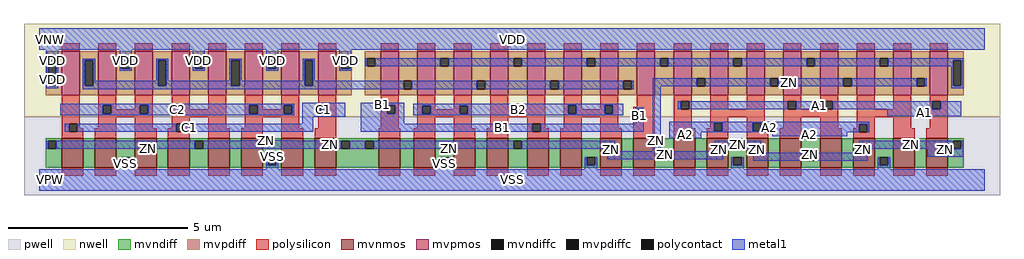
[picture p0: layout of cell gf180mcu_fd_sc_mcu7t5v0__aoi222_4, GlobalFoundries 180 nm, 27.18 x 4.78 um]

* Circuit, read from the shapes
.subckt gf180mcu_fd_sc_mcu7t5v0__aoi222_4 A1 A2 B1 B2 C1 C2 ZN VDD VNW VPW VSS
XM1 n1 C1 ZN VPW nfet_06v0 w=0.82u l=0.6u
XM2 VSS C2 n1 VPW nfet_06v0 w=0.82u l=0.6u
XM3 n2 C2 VSS VPW nfet_06v0 w=0.82u l=0.6u
XM4 ZN C1 n2 VPW nfet_06v0 w=0.82u l=0.6u
XM5 n3 C1 ZN VPW nfet_06v0 w=0.82u l=0.6u
XM6 VSS C2 n3 VPW nfet_06v0 w=0.82u l=0.6u
XM7 n4 C2 VSS VPW nfet_06v0 w=0.82u l=0.6u
XM8 ZN C1 n4 VPW nfet_06v0 w=0.82u l=0.6u
XM9 n5 B1 ZN VPW nfet_06v0 w=0.82u l=0.6u
XM10 VSS B2 n5 VPW nfet_06v0 w=0.82u l=0.6u
XM11 n6 B2 VSS VPW nfet_06v0 w=0.82u l=0.6u
XM12 ZN B1 n6 VPW nfet_06v0 w=0.82u l=0.6u
XM13 n7 B1 ZN VPW nfet_06v0 w=0.82u l=0.6u
XM14 VSS B2 n7 VPW nfet_06v0 w=0.82u l=0.6u
XM15 n8 B2 VSS VPW nfet_06v0 w=0.82u l=0.6u
XM16 ZN B1 n8 VPW nfet_06v0 w=0.82u l=0.6u
XM17 n9 A1 ZN VPW nfet_06v0 w=0.82u l=0.6u
XM18 VSS A2 n9 VPW nfet_06v0 w=0.82u l=0.6u
XM19 n10 A2 VSS VPW nfet_06v0 w=0.82u l=0.6u
XM20 ZN A1 n10 VPW nfet_06v0 w=0.82u l=0.6u
XM21 n11 A1 ZN VPW nfet_06v0 w=0.82u l=0.6u
XM22 VSS A2 n11 VPW nfet_06v0 w=0.82u l=0.6u
XM23 n12 A2 VSS VPW nfet_06v0 w=0.82u l=0.6u
XM24 ZN A1 n12 VPW nfet_06v0 w=0.82u l=0.6u
XM25 n13 C1 VDD VNW pfet_06v0 w=1.22u l=0.5u m=4
XM26 VDD C2 n13 VNW pfet_06v0 w=1.22u l=0.5u m=4
XM27 n13 B1 n14 VNW pfet_06v0 w=1.22u l=0.5u m=4
XM28 n14 B2 n13 VNW pfet_06v0 w=1.22u l=0.5u m=4
XM29 ZN A1 n14 VNW pfet_06v0 w=1.22u l=0.5u m=4
XM30 n14 A2 ZN VNW pfet_06v0 w=1.22u l=0.5u m=4
.ends

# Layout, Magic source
magic
tech gf180mcuD
magscale 1 10
<< nwell >>
rect -86 352 5350 870
<< pwell >>
rect -86 -86 5350 352
<< mvnmos >>
rect 124 68 244 232
rect 308 68 428 232
rect 532 68 652 232
rect 716 68 836 232
rect 940 68 1060 232
rect 1124 68 1244 232
rect 1348 68 1468 232
rect 1532 68 1652 232
rect 1890 68 2010 232
rect 2084 68 2204 232
rect 2308 68 2428 232
rect 2492 68 2612 232
rect 2716 68 2836 232
rect 2900 68 3020 232
rect 3124 68 3244 232
rect 3308 68 3428 232
rect 3532 68 3652 232
rect 3716 68 3836 232
rect 3940 68 4060 232
rect 4124 68 4244 232
rect 4348 68 4468 232
rect 4532 68 4652 232
rect 4756 68 4876 232
rect 4940 68 5060 232
<< mvpmos >>
rect 124 472 224 716
rect 328 472 428 716
rect 532 472 632 716
rect 736 472 836 716
rect 940 472 1040 716
rect 1144 472 1244 716
rect 1348 472 1448 716
rect 1552 472 1652 716
rect 1900 472 2000 716
rect 2104 472 2204 716
rect 2308 472 2408 716
rect 2512 472 2612 716
rect 2716 472 2816 716
rect 2920 472 3020 716
rect 3124 472 3224 716
rect 3328 472 3428 716
rect 3532 472 3632 716
rect 3736 472 3836 716
rect 3940 472 4040 716
rect 4144 472 4244 716
rect 4348 472 4448 716
rect 4552 472 4652 716
rect 4756 472 4856 716
rect 4960 472 5060 716
<< mvndiff >>
rect 36 219 124 232
rect 36 173 49 219
rect 95 173 124 219
rect 36 68 124 173
rect 244 68 308 232
rect 428 127 532 232
rect 428 81 457 127
rect 503 81 532 127
rect 428 68 532 81
rect 652 68 716 232
rect 836 219 940 232
rect 836 173 865 219
rect 911 173 940 219
rect 836 68 940 173
rect 1060 68 1124 232
rect 1244 127 1348 232
rect 1244 81 1273 127
rect 1319 81 1348 127
rect 1244 68 1348 81
rect 1468 68 1532 232
rect 1652 219 1890 232
rect 1652 173 1681 219
rect 1727 173 1815 219
rect 1861 173 1890 219
rect 1652 68 1890 173
rect 2010 68 2084 232
rect 2204 127 2308 232
rect 2204 81 2233 127
rect 2279 81 2308 127
rect 2204 68 2308 81
rect 2428 68 2492 232
rect 2612 219 2716 232
rect 2612 173 2641 219
rect 2687 173 2716 219
rect 2612 68 2716 173
rect 2836 68 2900 232
rect 3020 127 3124 232
rect 3020 81 3049 127
rect 3095 81 3124 127
rect 3020 68 3124 81
rect 3244 68 3308 232
rect 3428 160 3532 232
rect 3428 114 3457 160
rect 3503 114 3532 160
rect 3428 68 3532 114
rect 3652 68 3716 232
rect 3836 127 3940 232
rect 3836 81 3865 127
rect 3911 81 3940 127
rect 3836 68 3940 81
rect 4060 68 4124 232
rect 4244 152 4348 232
rect 4244 106 4273 152
rect 4319 106 4348 152
rect 4244 68 4348 106
rect 4468 68 4532 232
rect 4652 127 4756 232
rect 4652 81 4681 127
rect 4727 81 4756 127
rect 4652 68 4756 81
rect 4876 68 4940 232
rect 5060 219 5148 232
rect 5060 173 5089 219
rect 5135 173 5148 219
rect 5060 68 5148 173
<< mvpdiff >>
rect 36 665 124 716
rect 36 525 49 665
rect 95 525 124 665
rect 36 472 124 525
rect 224 665 328 716
rect 224 525 253 665
rect 299 525 328 665
rect 224 472 328 525
rect 428 665 532 716
rect 428 619 457 665
rect 503 619 532 665
rect 428 472 532 619
rect 632 665 736 716
rect 632 525 661 665
rect 707 525 736 665
rect 632 472 736 525
rect 836 665 940 716
rect 836 619 865 665
rect 911 619 940 665
rect 836 472 940 619
rect 1040 665 1144 716
rect 1040 525 1069 665
rect 1115 525 1144 665
rect 1040 472 1144 525
rect 1244 665 1348 716
rect 1244 619 1273 665
rect 1319 619 1348 665
rect 1244 472 1348 619
rect 1448 665 1552 716
rect 1448 525 1477 665
rect 1523 525 1552 665
rect 1448 472 1552 525
rect 1652 665 1740 716
rect 1652 619 1681 665
rect 1727 619 1740 665
rect 1652 472 1740 619
rect 1812 678 1900 716
rect 1812 632 1825 678
rect 1871 632 1900 678
rect 1812 472 1900 632
rect 2000 552 2104 716
rect 2000 506 2029 552
rect 2075 506 2104 552
rect 2000 472 2104 506
rect 2204 678 2308 716
rect 2204 632 2233 678
rect 2279 632 2308 678
rect 2204 472 2308 632
rect 2408 552 2512 716
rect 2408 506 2437 552
rect 2483 506 2512 552
rect 2408 472 2512 506
rect 2612 678 2716 716
rect 2612 632 2641 678
rect 2687 632 2716 678
rect 2612 472 2716 632
rect 2816 552 2920 716
rect 2816 506 2845 552
rect 2891 506 2920 552
rect 2816 472 2920 506
rect 3020 678 3124 716
rect 3020 632 3049 678
rect 3095 632 3124 678
rect 3020 472 3124 632
rect 3224 552 3328 716
rect 3224 506 3253 552
rect 3299 506 3328 552
rect 3224 472 3328 506
rect 3428 678 3532 716
rect 3428 632 3457 678
rect 3503 632 3532 678
rect 3428 472 3532 632
rect 3632 567 3736 716
rect 3632 521 3661 567
rect 3707 521 3736 567
rect 3632 472 3736 521
rect 3836 678 3940 716
rect 3836 632 3865 678
rect 3911 632 3940 678
rect 3836 472 3940 632
rect 4040 567 4144 716
rect 4040 521 4069 567
rect 4115 521 4144 567
rect 4040 472 4144 521
rect 4244 678 4348 716
rect 4244 632 4273 678
rect 4319 632 4348 678
rect 4244 472 4348 632
rect 4448 567 4552 716
rect 4448 521 4477 567
rect 4523 521 4552 567
rect 4448 472 4552 521
rect 4652 678 4756 716
rect 4652 632 4681 678
rect 4727 632 4756 678
rect 4652 472 4756 632
rect 4856 567 4960 716
rect 4856 521 4885 567
rect 4931 521 4960 567
rect 4856 472 4960 521
rect 5060 665 5148 716
rect 5060 525 5089 665
rect 5135 525 5148 665
rect 5060 472 5148 525
<< mvndiffc >>
rect 49 173 95 219
rect 457 81 503 127
rect 865 173 911 219
rect 1273 81 1319 127
rect 1681 173 1727 219
rect 1815 173 1861 219
rect 2233 81 2279 127
rect 2641 173 2687 219
rect 3049 81 3095 127
rect 3457 114 3503 160
rect 3865 81 3911 127
rect 4273 106 4319 152
rect 4681 81 4727 127
rect 5089 173 5135 219
<< mvpdiffc >>
rect 49 525 95 665
rect 253 525 299 665
rect 457 619 503 665
rect 661 525 707 665
rect 865 619 911 665
rect 1069 525 1115 665
rect 1273 619 1319 665
rect 1477 525 1523 665
rect 1681 619 1727 665
rect 1825 632 1871 678
rect 2029 506 2075 552
rect 2233 632 2279 678
rect 2437 506 2483 552
rect 2641 632 2687 678
rect 2845 506 2891 552
rect 3049 632 3095 678
rect 3253 506 3299 552
rect 3457 632 3503 678
rect 3661 521 3707 567
rect 3865 632 3911 678
rect 4069 521 4115 567
rect 4273 632 4319 678
rect 4477 521 4523 567
rect 4681 632 4727 678
rect 4885 521 4931 567
rect 5089 525 5135 665
<< polysilicon >>
rect 124 716 224 760
rect 328 716 428 760
rect 532 716 632 760
rect 736 716 836 760
rect 940 716 1040 760
rect 1144 716 1244 760
rect 1348 716 1448 760
rect 1552 716 1652 760
rect 1900 716 2000 760
rect 2104 716 2204 760
rect 2308 716 2408 760
rect 2512 716 2612 760
rect 2716 716 2816 760
rect 2920 716 3020 760
rect 3124 716 3224 760
rect 3328 716 3428 760
rect 3532 716 3632 760
rect 3736 716 3836 760
rect 3940 716 4040 760
rect 4144 716 4244 760
rect 4348 716 4448 760
rect 4552 716 4652 760
rect 4756 716 4856 760
rect 4960 716 5060 760
rect 124 313 224 472
rect 124 267 165 313
rect 211 288 224 313
rect 328 415 428 472
rect 328 369 353 415
rect 399 394 428 415
rect 532 415 632 472
rect 532 394 560 415
rect 399 369 560 394
rect 606 369 632 415
rect 328 348 632 369
rect 328 288 428 348
rect 211 267 244 288
rect 124 232 244 267
rect 308 232 428 288
rect 532 288 632 348
rect 736 394 836 472
rect 940 394 1040 472
rect 736 348 1040 394
rect 736 313 836 348
rect 736 288 761 313
rect 532 232 652 288
rect 716 267 761 288
rect 807 267 836 313
rect 716 232 836 267
rect 940 288 1040 348
rect 1144 415 1244 472
rect 1144 369 1169 415
rect 1215 394 1244 415
rect 1348 415 1448 472
rect 1348 394 1361 415
rect 1215 369 1361 394
rect 1407 369 1448 415
rect 1144 348 1448 369
rect 1144 288 1244 348
rect 940 232 1060 288
rect 1124 232 1244 288
rect 1348 288 1448 348
rect 1552 415 1652 472
rect 1552 369 1565 415
rect 1611 369 1652 415
rect 1552 288 1652 369
rect 1900 415 2000 472
rect 1900 369 1937 415
rect 1983 369 2000 415
rect 1900 288 2000 369
rect 2104 414 2204 472
rect 2104 368 2133 414
rect 2179 394 2204 414
rect 2308 414 2408 472
rect 2308 394 2340 414
rect 2179 368 2340 394
rect 2386 368 2408 414
rect 2104 348 2408 368
rect 2104 288 2204 348
rect 1348 232 1468 288
rect 1532 232 1652 288
rect 1890 232 2010 288
rect 2084 232 2204 288
rect 2308 288 2408 348
rect 2512 394 2612 472
rect 2716 394 2816 472
rect 2512 348 2816 394
rect 2512 313 2612 348
rect 2512 288 2535 313
rect 2308 232 2428 288
rect 2492 267 2535 288
rect 2581 267 2612 313
rect 2492 232 2612 267
rect 2716 313 2816 348
rect 2716 267 2745 313
rect 2791 288 2816 313
rect 2920 415 3020 472
rect 2920 369 2945 415
rect 2991 394 3020 415
rect 3124 415 3224 472
rect 3124 394 3148 415
rect 2991 369 3148 394
rect 3194 369 3224 415
rect 3328 407 3428 472
rect 2920 348 3224 369
rect 2920 288 3020 348
rect 2791 267 2836 288
rect 2716 232 2836 267
rect 2900 232 3020 288
rect 3124 288 3224 348
rect 3308 394 3428 407
rect 3308 348 3321 394
rect 3367 348 3428 394
rect 3124 232 3244 288
rect 3308 232 3428 348
rect 3532 439 3632 472
rect 3532 393 3573 439
rect 3619 393 3632 439
rect 3532 288 3632 393
rect 3736 394 3836 472
rect 3940 394 4040 472
rect 3736 348 4040 394
rect 3736 317 3836 348
rect 3736 288 3758 317
rect 3532 232 3652 288
rect 3716 271 3758 288
rect 3804 271 3836 317
rect 3716 232 3836 271
rect 3940 317 4040 348
rect 3940 271 3973 317
rect 4019 288 4040 317
rect 4144 439 4244 472
rect 4144 393 4168 439
rect 4214 394 4244 439
rect 4348 439 4448 472
rect 4348 394 4373 439
rect 4214 393 4373 394
rect 4419 393 4448 439
rect 4144 348 4448 393
rect 4144 288 4244 348
rect 4019 271 4060 288
rect 3940 232 4060 271
rect 4124 232 4244 288
rect 4348 288 4448 348
rect 4552 394 4652 472
rect 4756 394 4856 472
rect 4552 348 4856 394
rect 4552 311 4652 348
rect 4552 288 4565 311
rect 4348 232 4468 288
rect 4532 265 4565 288
rect 4611 265 4652 311
rect 4532 232 4652 265
rect 4756 288 4856 348
rect 4960 439 5060 472
rect 4960 393 4973 439
rect 5019 393 5060 439
rect 4960 288 5060 393
rect 4756 232 4876 288
rect 4940 232 5060 288
rect 124 24 244 68
rect 308 24 428 68
rect 532 24 652 68
rect 716 24 836 68
rect 940 24 1060 68
rect 1124 24 1244 68
rect 1348 24 1468 68
rect 1532 24 1652 68
rect 1890 24 2010 68
rect 2084 24 2204 68
rect 2308 24 2428 68
rect 2492 24 2612 68
rect 2716 24 2836 68
rect 2900 24 3020 68
rect 3124 24 3244 68
rect 3308 24 3428 68
rect 3532 24 3652 68
rect 3716 24 3836 68
rect 3940 24 4060 68
rect 4124 24 4244 68
rect 4348 24 4468 68
rect 4532 24 4652 68
rect 4756 24 4876 68
rect 4940 24 5060 68
<< polycontact >>
rect 165 267 211 313
rect 353 369 399 415
rect 560 369 606 415
rect 761 267 807 313
rect 1169 369 1215 415
rect 1361 369 1407 415
rect 1565 369 1611 415
rect 1937 369 1983 415
rect 2133 368 2179 414
rect 2340 368 2386 414
rect 2535 267 2581 313
rect 2745 267 2791 313
rect 2945 369 2991 415
rect 3148 369 3194 415
rect 3321 348 3367 394
rect 3573 393 3619 439
rect 3758 271 3804 317
rect 3973 271 4019 317
rect 4168 393 4214 439
rect 4373 393 4419 439
rect 4565 265 4611 311
rect 4973 393 5019 439
<< metal1 >>
rect 0 724 5264 844
rect 38 665 106 724
rect 38 525 49 665
rect 95 525 106 665
rect 38 511 106 525
rect 242 665 310 676
rect 242 525 253 665
rect 299 552 310 665
rect 446 665 515 724
rect 446 619 457 665
rect 503 619 515 665
rect 446 608 515 619
rect 650 665 718 676
rect 650 552 661 665
rect 299 525 661 552
rect 707 552 718 665
rect 854 665 922 724
rect 854 619 865 665
rect 911 619 922 665
rect 854 608 922 619
rect 1058 665 1126 676
rect 1058 552 1069 665
rect 707 525 1069 552
rect 1115 552 1126 665
rect 1262 665 1330 724
rect 1262 619 1273 665
rect 1319 619 1330 665
rect 1262 608 1330 619
rect 1466 665 1534 676
rect 1466 552 1477 665
rect 1115 525 1477 552
rect 1523 552 1534 665
rect 1670 665 1738 724
rect 1670 619 1681 665
rect 1727 619 1738 665
rect 1814 632 1825 678
rect 1871 632 2233 678
rect 2279 632 2641 678
rect 2687 632 3049 678
rect 3095 632 3457 678
rect 3503 632 3865 678
rect 3911 632 4273 678
rect 4319 632 4681 678
rect 4727 665 5146 678
rect 4727 632 5089 665
rect 1670 608 1738 619
rect 1523 525 2029 552
rect 242 506 2029 525
rect 2075 506 2437 552
rect 2483 506 2845 552
rect 2891 506 3253 552
rect 3299 506 3310 552
rect 3415 521 3661 567
rect 3707 521 4069 567
rect 4115 521 4477 567
rect 4523 521 4885 567
rect 4931 521 4942 567
rect 5078 525 5089 632
rect 5135 525 5146 665
rect 117 415 1418 424
rect 117 369 353 415
rect 399 369 560 415
rect 606 369 1169 415
rect 1215 369 1361 415
rect 1407 369 1418 415
rect 117 360 1418 369
rect 1464 415 1703 430
rect 1464 369 1565 415
rect 1611 369 1703 415
rect 1464 352 1703 369
rect 1789 415 2032 430
rect 1789 369 1937 415
rect 1983 369 2032 415
rect 1464 313 1524 352
rect 142 267 165 313
rect 211 267 761 313
rect 807 267 1524 313
rect 1789 313 2032 369
rect 2083 415 3251 424
rect 2083 414 2945 415
rect 2083 368 2133 414
rect 2179 368 2340 414
rect 2386 369 2945 414
rect 2991 369 3148 415
rect 3194 369 3251 415
rect 2386 368 3251 369
rect 2083 360 3251 368
rect 3321 394 3367 405
rect 3321 313 3367 348
rect 1789 267 2535 313
rect 2581 267 2745 313
rect 2791 267 3367 313
rect 1126 219 1407 220
rect 38 173 49 219
rect 95 173 865 219
rect 911 174 1681 219
rect 911 173 1172 174
rect 1361 173 1681 174
rect 1727 173 1815 219
rect 1861 173 2641 219
rect 2687 173 3208 219
rect 3162 160 3208 173
rect 3415 160 3461 521
rect 5078 511 5146 525
rect 3556 393 3573 439
rect 3619 393 4168 439
rect 4214 393 4373 439
rect 4419 393 4973 439
rect 5019 393 5134 439
rect 4722 354 5134 393
rect 3507 317 4622 323
rect 3507 271 3758 317
rect 3804 271 3973 317
rect 4019 311 4622 317
rect 4019 271 4565 311
rect 3507 265 4565 271
rect 4611 265 4622 311
rect 3507 232 3686 265
rect 4081 244 4498 265
rect 3762 173 4021 219
rect 3762 160 3808 173
rect 1262 127 1330 128
rect 446 81 457 127
rect 503 81 514 127
rect 446 60 514 81
rect 1262 81 1273 127
rect 1319 81 1330 127
rect 1262 60 1330 81
rect 2222 81 2233 127
rect 2279 81 2290 127
rect 2222 60 2290 81
rect 3038 81 3049 127
rect 3095 81 3106 127
rect 3162 114 3457 160
rect 3503 114 3808 160
rect 3975 152 4021 173
rect 4567 173 5089 219
rect 5135 173 5146 219
rect 4567 152 4613 173
rect 3038 60 3106 81
rect 3854 81 3865 127
rect 3911 81 3922 127
rect 3975 106 4273 152
rect 4319 106 4613 152
rect 4946 130 5146 173
rect 3854 60 3922 81
rect 4670 81 4681 127
rect 4727 81 4738 127
rect 4670 60 4738 81
rect 0 -60 5264 60
<< labels >>
flabel metal1 s 3556 393 5134 439 0 FreeSans 600 0 0 0 A1
port 1 nsew default input
flabel metal1 s 3415 521 4942 567 0 FreeSans 600 0 0 0 ZN
port 7 nsew default output
flabel metal1 s 1262 127 1330 128 0 FreeSans 600 0 0 0 VSS
port 11 nsew ground bidirectional abutment
flabel metal1 s 0 724 5264 844 0 FreeSans 600 0 0 0 VDD
port 8 nsew power bidirectional abutment
flabel metal1 s 117 360 1418 424 0 FreeSans 600 0 0 0 C2
port 6 nsew default input
flabel metal1 s 1464 352 1703 430 0 FreeSans 600 0 0 0 C1
port 5 nsew default input
flabel metal1 s 2083 360 3251 424 0 FreeSans 600 0 0 0 B2
port 4 nsew default input
flabel metal1 s 1789 405 2032 430 0 FreeSans 600 0 0 0 B1
port 3 nsew default input
flabel metal1 s 3507 265 4622 323 0 FreeSans 600 0 0 0 A2
port 2 nsew default input
flabel nwell s 10 734 110 834 0 FreeSans 400 0 0 0 VNW
port 9 nsew power bidirectional
flabel pwell s 10 -50 110 50 0 FreeSans 400 0 0 0 VPW
port 10 nsew ground bidirectional
rlabel metal1 s 4722 354 5134 393 1 A1
port 1 nsew default input
rlabel metal1 s 4081 244 4498 265 1 A2
port 2 nsew default input
rlabel metal1 s 3507 244 3686 265 1 A2
port 2 nsew default input
rlabel metal1 s 3507 232 3686 244 1 A2
port 2 nsew default input
rlabel metal1 s 3321 313 3367 405 1 B1
port 3 nsew default input
rlabel metal1 s 1789 313 2032 405 1 B1
port 3 nsew default input
rlabel metal1 s 1789 267 3367 313 1 B1
port 3 nsew default input
rlabel metal1 s 1464 313 1524 352 1 C1
port 5 nsew default input
rlabel metal1 s 142 267 1524 313 1 C1
port 5 nsew default input
rlabel metal1 s 3415 220 3461 521 1 ZN
port 7 nsew default output
rlabel metal1 s 3415 219 3461 220 1 ZN
port 7 nsew default output
rlabel metal1 s 1126 219 1407 220 1 ZN
port 7 nsew default output
rlabel metal1 s 4567 174 5146 219 1 ZN
port 7 nsew default output
rlabel metal1 s 3762 174 4021 219 1 ZN
port 7 nsew default output
rlabel metal1 s 3415 174 3461 219 1 ZN
port 7 nsew default output
rlabel metal1 s 38 174 3208 219 1 ZN
port 7 nsew default output
rlabel metal1 s 4567 173 5146 174 1 ZN
port 7 nsew default output
rlabel metal1 s 3762 173 4021 174 1 ZN
port 7 nsew default output
rlabel metal1 s 3415 173 3461 174 1 ZN
port 7 nsew default output
rlabel metal1 s 1361 173 3208 174 1 ZN
port 7 nsew default output
rlabel metal1 s 38 173 1172 174 1 ZN
port 7 nsew default output
rlabel metal1 s 4946 160 5146 173 1 ZN
port 7 nsew default output
rlabel metal1 s 4567 160 4613 173 1 ZN
port 7 nsew default output
rlabel metal1 s 3975 160 4021 173 1 ZN
port 7 nsew default output
rlabel metal1 s 3762 160 3808 173 1 ZN
port 7 nsew default output
rlabel metal1 s 3415 160 3461 173 1 ZN
port 7 nsew default output
rlabel metal1 s 3162 160 3208 173 1 ZN
port 7 nsew default output
rlabel metal1 s 4946 152 5146 160 1 ZN
port 7 nsew default output
rlabel metal1 s 4567 152 4613 160 1 ZN
port 7 nsew default output
rlabel metal1 s 3975 152 4021 160 1 ZN
port 7 nsew default output
rlabel metal1 s 3162 152 3808 160 1 ZN
port 7 nsew default output
rlabel metal1 s 4946 130 5146 152 1 ZN
port 7 nsew default output
rlabel metal1 s 3975 130 4613 152 1 ZN
port 7 nsew default output
rlabel metal1 s 3162 130 3808 152 1 ZN
port 7 nsew default output
rlabel metal1 s 3975 114 4613 130 1 ZN
port 7 nsew default output
rlabel metal1 s 3162 114 3808 130 1 ZN
port 7 nsew default output
rlabel metal1 s 3975 106 4613 114 1 ZN
port 7 nsew default output
rlabel metal1 s 1670 608 1738 724 1 VDD
port 8 nsew power bidirectional abutment
rlabel metal1 s 1262 608 1330 724 1 VDD
port 8 nsew power bidirectional abutment
rlabel metal1 s 854 608 922 724 1 VDD
port 8 nsew power bidirectional abutment
rlabel metal1 s 446 608 515 724 1 VDD
port 8 nsew power bidirectional abutment
rlabel metal1 s 38 608 106 724 1 VDD
port 8 nsew power bidirectional abutment
rlabel metal1 s 38 511 106 608 1 VDD
port 8 nsew power bidirectional abutment
rlabel metal1 s 4670 60 4738 127 1 VSS
port 11 nsew ground bidirectional abutment
rlabel metal1 s 3854 60 3922 127 1 VSS
port 11 nsew ground bidirectional abutment
rlabel metal1 s 3038 60 3106 127 1 VSS
port 11 nsew ground bidirectional abutment
rlabel metal1 s 2222 60 2290 127 1 VSS
port 11 nsew ground bidirectional abutment
rlabel metal1 s 1262 60 1330 127 1 VSS
port 11 nsew ground bidirectional abutment
rlabel metal1 s 446 60 514 127 1 VSS
port 11 nsew ground bidirectional abutment
rlabel metal1 s 0 -60 5264 60 1 VSS
port 11 nsew ground bidirectional abutment
<< properties >>
string FIXED_BBOX 0 0 5264 784
string GDS_END 1330570
string GDS_FILE $PDKPATH/libs.ref/gf180mcu_fd_sc_mcu7t5v0/gds/gf180mcu_fd_sc_mcu7t5v0.gds
string GDS_START 1321056
string LEFclass core
string LEFsite GF018hv5v_mcu_sc7
string LEFsymmetry X Y
<< end >>
